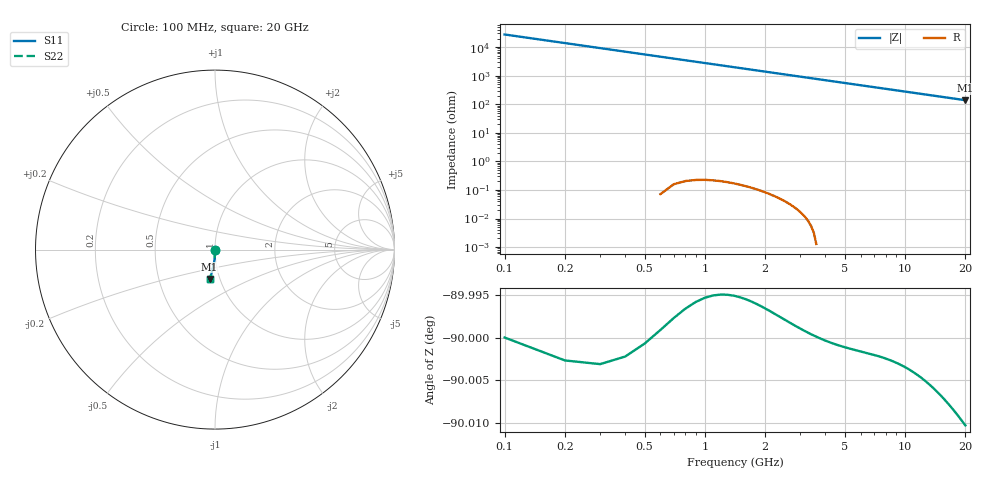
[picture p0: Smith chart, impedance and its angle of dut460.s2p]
! Touchstone file exported from HFSS 2026.1.0
!  File:  C:/ffzhzh/LocalFiles/Ansys_Project_Files/temp_train_TSV_460_1783021975_53980.aedt
!  Generated:  03:54:16 AM Jul  3, 2026
!  Design:  TSV
!  Project:  temp_train_TSV_460_1783021975_53980
! Variables:
!  h_bsmrdl = 2um
!  h_ox = 20um
!  h_rdl = 5um
!  h_sub = 53.87um
!  h_tmrdl = 5um
!  h_tsv = 53.87um
!  h_via = 3um
!  l_bsmrdl = 300um
!  l_sub = 428.04um
!  l_tmrdl = 200um
!  m_sub = 200um
!  pitch = 29.25um
!  r_tsv = 14.02um
!  s_tmrdl = 10um
!  w_bsmrdl = 18um
!  w_sub = 500um
!  w_tmrdl = 12um
!  x_tsv_center1 = 206um
!  x_tsv_center2 = 524um
!  x_tsv_center3 = 736um
!  x_tsv_center4 = 1054um
!  x_tsv_center5 = 1266um
!  x_tsv_center6 = 1584um
# GHz S MA R 50.000000
! Terminal data exported
! Port[1] = TSV1_1_T1
! Port[2] = TSV1_1_T2
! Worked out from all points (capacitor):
!   200 points, 100 MHz to 20 GHz, reference 50 ohm
!   read as one part in shunt: C = 57.5 fF near 200 MHz
!   lowest |Z| = 139 ohm at 20 GHz (marker M1)
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0.1  0.0007948 -84.5  0.9999 -0.1  0.9999 -0.1  0.0007948 -84.5
! Gamma 0 0 0 0
! Port Impedance 50 0 50 0
0.2  0.001591 -86.6  0.9999 -0.1  0.9999 -0.1  0.001591 -86.6
0.3  0.002397 -87.2  0.9999 -0.2  0.9999 -0.2  0.002397 -87.2
0.4  0.003213 -87.5  0.9998 -0.2  0.9998 -0.2  0.003213 -87.5
0.5  0.004038 -87.7  0.9998 -0.3  0.9998 -0.3  0.004038 -87.7
0.7  0.005705 -88.0  0.9997 -0.4  0.9997 -0.4  0.005705 -88.0
0.8  0.006543 -88.2  0.9997 -0.5  0.9997 -0.5  0.006543 -88.2
1  0.008224 -88.5  0.9997 -0.6  0.9997 -0.6  0.008224 -88.5
1.2  0.009907 -88.8  0.9996 -0.7  0.9996 -0.7  0.009907 -88.8
1.4  0.01159 -89.1  0.9996 -0.8  0.9996 -0.8  0.01159 -89.1
1.7  0.01411 -89.4  0.9995 -1.0  0.9995 -1.0  0.01411 -89.4
2  0.01664 -89.7  0.9995 -1.1  0.9995 -1.1  0.01664 -89.7
2.7  0.02252 -90.3  0.9993 -1.5  0.9993 -1.5  0.02252 -90.3
3.5  0.02925 -90.9  0.999 -1.9  0.999 -1.9  0.02925 -90.9
4.2  0.03514 -91.4  0.9988 -2.3  0.9988 -2.3  0.03514 -91.4
5  0.04188 -91.9  0.9985 -2.8  0.9985 -2.8  0.04188 -91.9
6.8  0.05704 -93.0  0.9976 -3.8  0.9976 -3.8  0.05704 -93.0
8.3  0.06966 -93.8  0.9967 -4.6  0.9967 -4.6  0.06966 -93.8
10.1  0.08476 -94.9  0.9954 -5.6  0.9954 -5.6  0.08476 -94.9
13.4  0.1123 -96.8  0.9925 -7.4  0.9925 -7.4  0.1123 -96.8
16.7  0.1395 -98.6  0.9889 -9.1  0.9889 -9.1  0.1395 -98.6
20  0.1665 -100.4  0.9846 -10.9  0.9846 -10.9  0.1665 -100.4
